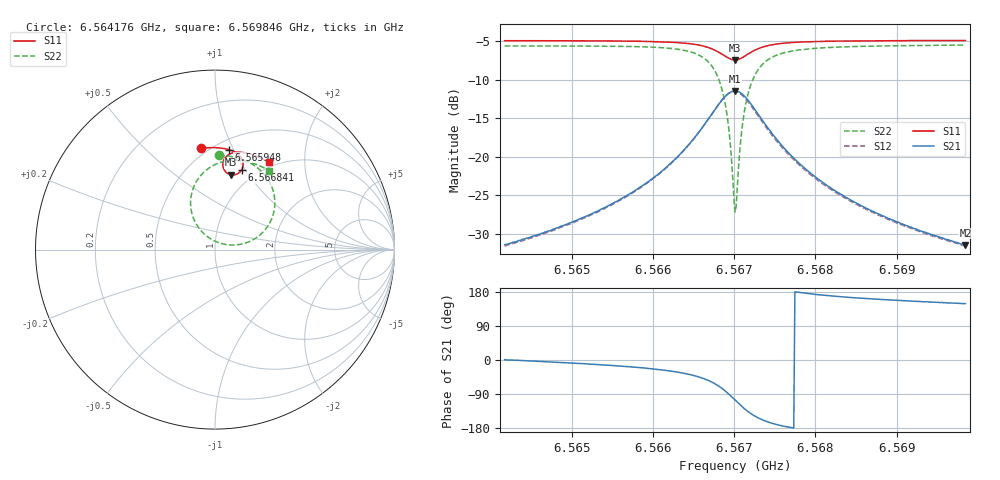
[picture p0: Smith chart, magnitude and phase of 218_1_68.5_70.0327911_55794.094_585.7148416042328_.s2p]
#  HZ  S  RI  R  50.00
! Rohde & Schwarz Vector Network Analyzer
! Rohde-Schwarz,ZNB20-2Port,1311601062101988,3.16
! Created: UTC 3/20/2024, 4:58:18 PM
! freq[Hz]  re:S11  im:S11  re:S21  im:S21  re:S12  im:S12  re:S22  im:S22
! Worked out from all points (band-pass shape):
!   401 points, 6.564176 GHz to 6.569846 GHz, reference 50 ohm
!   highest |S21| = -11.42 dB at 6.567011 GHz (marker M1); lowest = -31.4 dB at 6.569846 GHz (marker M2)
!   |S21| within 3 dB of the highest: 6.566726 GHz to 6.567294 GHz (567.5 kHz wide, 0.00864 % of centre)
!   lowest |S11| = -7.4 dB at 6.567011 GHz (marker M3), VSWR 2.49, Z = 40.6 + j41.5 ohm
!   |S11| at or under -10 dB: nowhere
!   |S22| runs from -27.2 to -5.5 dB; largest |S21 - S12| = 0.012
!   S11 on the Smith chart (normalised r, x): 6.564176 GHz: 0.46, +0.76; 6.565948 GHz: 0.59, +0.96; 6.566841 GHz: 0.85, +0.96; 6.569846 GHz: 0.93, +1.34
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6.5641756e9  -0.0765 0.5639  0.027 0.000357  0.0264 -0.000225  0.0229 0.5252
6.5651254e9  0.000554 0.568  0.0395 -0.00655  0.0388 -0.00726  0.1109 0.5139
6.5659476e9  0.0756 0.5575  0.0642 -0.0263  0.0632 -0.0271  0.2123 0.4726
6.5660751e9  0.0887 0.5533  0.0706 -0.0333  0.0696 -0.0342  0.2329 0.4583
6.5663728e9  0.122 0.536  0.09 -0.0622  0.0886 -0.0635  0.2885 0.4012
6.5665996e9  0.1479 0.5075  0.1043 -0.112  0.1019 -0.114  0.3294 0.3052
6.5667414e9  0.1564 0.4748  0.0976 -0.169  0.0932 -0.1721  0.3242 0.1961
6.5668406e9  0.1485 0.4446  0.0661 -0.221  0.0589 -0.2237  0.2688 0.0988
6.5668832e9  0.1387 0.4319  0.041 -0.2417  0.0321 -0.2434  0.2229 0.061
6.5669257e9  0.1244 0.4219  0.00794 -0.2572  -0.00236 -0.2572  0.1628 0.0345
6.5669966e9  0.0939 0.4163  -0.0584 -0.2617  -0.0695 -0.2572  0.0445 0.0317
6.5670107e9  0.0876 0.4173  -0.0719 -0.2587  -0.0826 -0.253  0.0211 0.0385
6.5670391e9  0.0754 0.4215  -0.0977 -0.2488  -0.1075 -0.2412  -0.023 0.0591
6.5670816e9  0.0601 0.4324  -0.1304 -0.2254  -0.1382 -0.216  -0.0769 0.1041
6.5671241e9  0.0496 0.4467  -0.1537 -0.1961  -0.1591 -0.1856  -0.113 0.1585
6.5671808e9  0.0436 0.4675  -0.1704 -0.1551  -0.1722 -0.1447  -0.1345 0.2321
6.5672517e9  0.046 0.4907  -0.1728 -0.1098  -0.1721 -0.1008  -0.1304 0.311
6.5673651e9  0.0609 0.5165  -0.1572 -0.059  -0.1546 -0.0529  -0.092 0.3969
6.5675069e9  0.084 0.5333  -0.1311 -0.0245  -0.1283 -0.0206  -0.0352 0.4535
6.5679605e9  0.1447 0.5426  -0.0766 0.0081  -0.0747 0.00927  0.092 0.4977
6.5689103e9  0.2311 0.5206  -0.0369 0.0145  -0.0362 0.0148  0.2213 0.4782
6.5698459e9  0.2993 0.4864  -0.0229 0.014  -0.0224 0.0141  0.3007 0.4401
